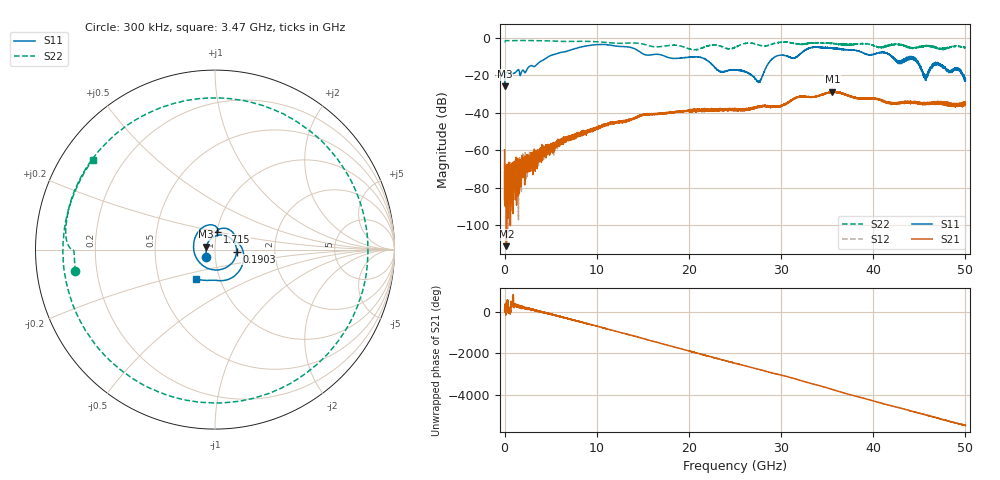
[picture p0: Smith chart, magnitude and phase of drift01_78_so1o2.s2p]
!Created with skrf (http://scikit-rf.org).
# Hz S RI R 50.0
!freq ReS11 ImS11 ReS21 ImS21 ReS12 ImS12 ReS22 ImS22
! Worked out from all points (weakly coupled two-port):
!   10001 points, 300 kHz to 50 GHz, reference 50 ohm
!   highest |S21| = -28.73 dB at 35.58 GHz (marker M1); lowest = -111.4 dB at 200.3 MHz (marker M2)
!   lowest |S11| = -25.8 dB at 5.3 MHz (marker M3), VSWR 1.11, Z = 45.3 + j1.44 ohm
!   |S11| at or under -10 dB: start of sweep to 4.768 GHz; 17.52 GHz to 29.38 GHz (11.86 GHz wide, 50.6 % of centre); 44.16 GHz to end of sweep (the widest 3 of 9)
!   |S22| runs from -6.4 to -1.3 dB; largest |S21 - S12| = 0.0051
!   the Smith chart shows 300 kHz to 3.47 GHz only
!   S11 on the Smith chart (normalised r, x): 300 kHz: 0.90, -0.07; 190.3 MHz: 1.27, -0.03; 1.715 GHz: 1.00, +0.20; 3.47 GHz: 0.77, -0.26
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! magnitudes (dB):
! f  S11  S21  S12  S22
! 300 kHz  -24.0  -59.8  -66.9  -2.1
! 5.3 MHz  -25.8  -87.0  -79.5  -2.1
! 190.3 MHz  -18.3  -74.2  -74.4  -1.4
! 200.3 MHz  -18.3  -111.4  -76.5  -1.4
! 1.715 GHz  -19.9  -70.7  -69.0  -1.4
! 3.47 GHz  -14.3  -63.2  -63.5  -1.5
! 8.335 GHz  -4.8  -51.3  -51.0  -1.8
! 16.67 GHz  -8.8  -40.8  -40.7  -4.8
! 21.21 GHz  -10.3  -38.5  -38.3  -5.8
! 23.38 GHz  -18.1  -37.6  -38.4  -4.2
! 25 GHz  -17.0  -38.8  -39.1  -5.0
! 27.6 GHz  -23.2  -37.1  -36.7  -3.7
! 29.29 GHz  -10.3  -36.9  -36.9  -2.9
! 31.49 GHz  -10.6  -32.5  -32.2  -3.0
! 33.34 GHz  -5.1  -31.7  -31.6  -2.8
! 35.58 GHz  -5.6  -28.7  -29.0  -3.1
! 41.67 GHz  -8.5  -34.8  -34.7  -4.0
! 42.81 GHz  -13.2  -34.6  -34.8  -3.4
! 44.5 GHz  -10.7  -34.4  -34.4  -5.1
! 45.63 GHz  -21.6  -34.7  -35.5  -4.3
! 46.95 GHz  -13.6  -34.8  -34.7  -5.4
! 50 GHz  -21.9  -35.4  -35.5  -5.2
